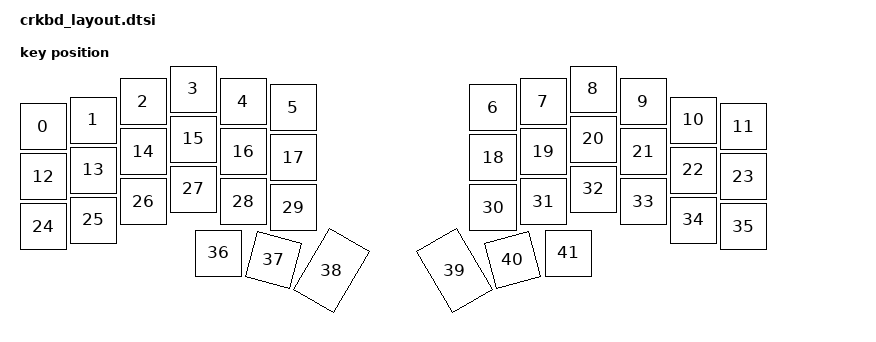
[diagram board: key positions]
#include <physical_layouts.dtsi>

#include "position_map.dtsi"

/ {
        dao_crkbd_layout: dao_crkbd_layout {
                compatible = "zmk,physical-layout";
                display-name = "Corne";

                keys  //                 w   h    x    y     rot    rx    ry
                = <&key_physical_attrs 100 100    0   75       0     0     0>
                , <&key_physical_attrs 100 100  100   62       0     0     0>
                , <&key_physical_attrs 100 100  200   25       0     0     0>
                , <&key_physical_attrs 100 100  300    0       0     0     0>
                , <&key_physical_attrs 100 100  400   25       0     0     0>
                , <&key_physical_attrs 100 100  500   37       0     0     0>
                , <&key_physical_attrs 100 100  900   37       0     0     0>
                , <&key_physical_attrs 100 100 1000   25       0     0     0>
                , <&key_physical_attrs 100 100 1100    0       0     0     0>
                , <&key_physical_attrs 100 100 1200   25       0     0     0>
                , <&key_physical_attrs 100 100 1300   62       0     0     0>
                , <&key_physical_attrs 100 100 1400   75       0     0     0>
                , <&key_physical_attrs 100 100    0  175       0     0     0>
                , <&key_physical_attrs 100 100  100  162       0     0     0>
                , <&key_physical_attrs 100 100  200  125       0     0     0>
                , <&key_physical_attrs 100 100  300  100       0     0     0>
                , <&key_physical_attrs 100 100  400  125       0     0     0>
                , <&key_physical_attrs 100 100  500  137       0     0     0>
                , <&key_physical_attrs 100 100  900  137       0     0     0>
                , <&key_physical_attrs 100 100 1000  125       0     0     0>
                , <&key_physical_attrs 100 100 1100  100       0     0     0>
                , <&key_physical_attrs 100 100 1200  125       0     0     0>
                , <&key_physical_attrs 100 100 1300  162       0     0     0>
                , <&key_physical_attrs 100 100 1400  175       0     0     0>
                , <&key_physical_attrs 100 100    0  275       0     0     0>
                , <&key_physical_attrs 100 100  100  262       0     0     0>
                , <&key_physical_attrs 100 100  200  225       0     0     0>
                , <&key_physical_attrs 100 100  300  200       0     0     0>
                , <&key_physical_attrs 100 100  400  225       0     0     0>
                , <&key_physical_attrs 100 100  500  237       0     0     0>
                , <&key_physical_attrs 100 100  900  237       0     0     0>
                , <&key_physical_attrs 100 100 1000  225       0     0     0>
                , <&key_physical_attrs 100 100 1100  200       0     0     0>
                , <&key_physical_attrs 100 100 1200  225       0     0     0>
                , <&key_physical_attrs 100 100 1300  262       0     0     0>
                , <&key_physical_attrs 100 100 1400  275       0     0     0>
                , <&key_physical_attrs 100 100  350  328       0     0     0>
                , <&key_physical_attrs 100 100  461  342    1500   511   392>
                , <&key_physical_attrs 100 150  577  338    3000   627   413>
                , <&key_physical_attrs 100 150  823  338 (-3000)   873   413>
                , <&key_physical_attrs 100 100  939  342 (-1500)   989   392>
                , <&key_physical_attrs 100 100 1050  328       0     0     0>
                ;
        };
};

&layouts_dao_position_map{
        crkbd {
                physical-layout = <&dao_crkbd_layout>;

                positions
                = <42  0  1  2  3  4  5        6  7  8  9 10 11 43>
                , <   12 13 14 15 16 17       18 19 20 21 22 23   >
                , <   24 25 26 27 28 29       30 31 32 33 34 35   >
                , <               36 37 38 39 40 41               >;
        };
};
